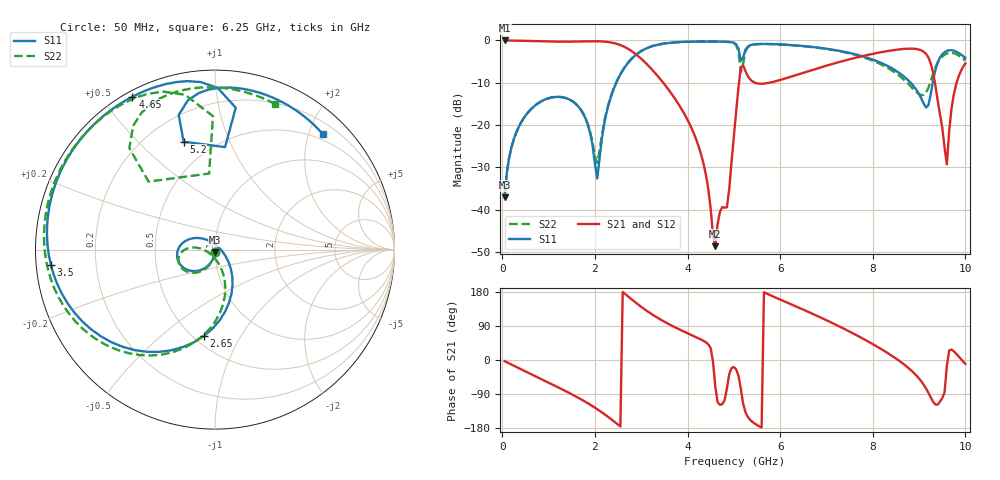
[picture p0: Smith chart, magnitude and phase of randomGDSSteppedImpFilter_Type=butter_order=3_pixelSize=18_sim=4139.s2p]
! freq	dB(S11)	phase(S11)	dB(S12)	phase(S12)
!  dB(S21)	phase(S21)	dB(S22)	phase(S22)
!S-par simulation data
#  GHz  S  DB  R 50
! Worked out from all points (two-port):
!   200 points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, 50 MHz to 10 GHz, reference 50 ohm
!   highest |S21| = -0.01 dB at 50 MHz (marker M1); lowest = -48.7 dB at 4.6 GHz (marker M2)
!   |S21| within 3 dB of the highest: start of sweep to 2.854 GHz; 8.074 GHz to 9.133 GHz (1.06 GHz wide, 12.3 % of centre)
!   lowest |S11| = -37.1 dB at 50 MHz (marker M3), VSWR 1.03, Z = 49.9 - j1.39 ohm
!   |S11| at or under -10 dB: start of sweep to 2.462 GHz; 8.816 GHz to 9.295 GHz (479 MHz wide, 5.29 % of centre)
!   |S22| runs from -37.1 to -0.3 dB; largest |S21 - S12| = 0
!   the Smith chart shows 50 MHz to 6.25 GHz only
!   S11 on the Smith chart (normalised r, x): 50 MHz: 1.00, -0.03; 2.65 GHz: 0.56, -0.71; 3.5 GHz: 0.04, -0.05; 4.65 GHz: 0.02, +0.60; 5.2 GHz: 0.35, +0.69; 6.25 GHz: 0.40, +2.25
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0.05  -37.09 -92.3  -0.01 -3.1  -0.01 -3.1  -37.09 -92.0
0.6  -16.48 -128.5  -0.14 -36.0  -0.14 -36.0  -16.48 -124.6
1.75  -17.40 151.8  -0.22 -107.2  -0.22 -107.2  -17.32 175.5
2.05  -32.65 43.6  -0.20 -129.7  -0.20 -129.7  -28.99 -125.2
2.65  -6.26 -97.4  -1.59 174.4  -1.59 174.4  -6.21 -98.4
3.4  -0.92 -167.5  -8.99 108.0  -8.99 108.0  -0.90 -160.1
3.5  -0.74 -174.8  -10.35 101.0  -10.35 101.0  -0.71 -166.6
4.25  -0.27 139.8  -25.42 56.5  -25.42 56.5  -0.26 152.5
4.6  -0.27 121.1  -48.66 -70.8  -48.66 -70.8  -0.27 135.2
4.65  -0.28 118.3  -43.41 -111.2  -43.41 -111.2  -0.28 132.6
4.85  -0.33 106.6  -39.47 -75.6  -39.47 -75.6  -0.35 121.0
5.05  -0.90 89.0  -16.83 -24.7  -16.83 -24.7  -1.12 100.9
5.2  -4.07 106.2  -5.88 -114.6  -5.88 -114.6  -5.52 134.3
6.25  -1.11 46.8  -8.52 146.3  -8.52 146.3  -1.13 67.6
6.7  -1.55 24.0  -6.96 121.9  -6.96 121.9  -1.59 43.7
8.35  -6.21 -63.0  -2.46 16.2  -2.46 16.2  -6.67 -69.8
8.85  -10.40 -95.2  -1.95 -29.7  -1.95 -29.7  -11.21 -126.6
9.2  -15.34 154.6  -4.01 -86.2  -4.01 -86.2  -11.24 152.7
9.4  -5.26 39.5  -14.09 -117.8  -14.09 -117.8  -5.29 70.0
9.6  -2.48 -19.2  -29.29 -15.6  -29.29 -15.6  -3.10 0.2
9.75  -2.43 -48.8  -12.78 23.1  -12.78 23.1  -3.03 -39.5
10  -4.14 -83.6  -5.44 -10.2  -5.44 -10.2  -4.78 -89.5
